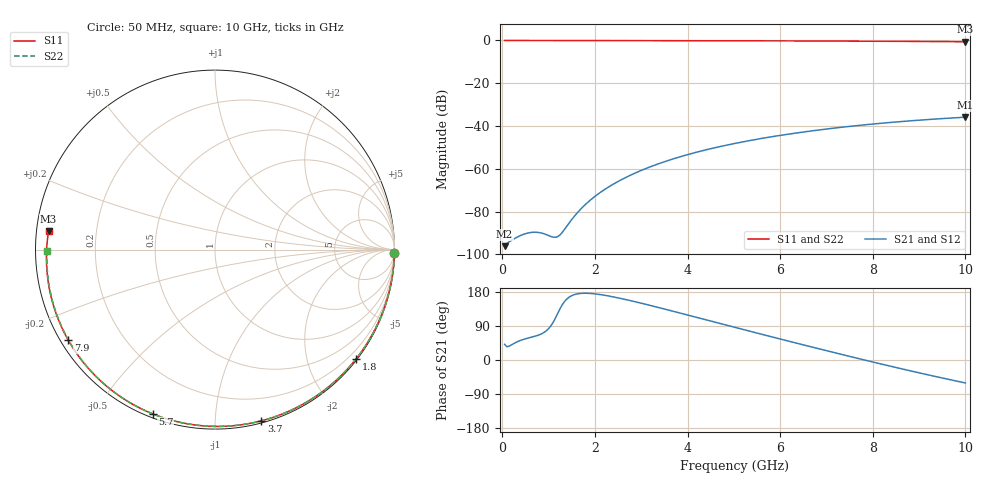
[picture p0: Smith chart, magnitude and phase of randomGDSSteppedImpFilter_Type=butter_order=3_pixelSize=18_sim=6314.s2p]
! freq	dB(S11)	phase(S11)	dB(S12)	phase(S12)
!  dB(S21)	phase(S21)	dB(S22)	phase(S22)
!S-par simulation data
#  GHz  S  DB  R 50
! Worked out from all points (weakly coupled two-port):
!   200 points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, 50 MHz to 10 GHz, reference 50 ohm
!   highest |S21| = -35.87 dB at 10 GHz (marker M1); lowest = -96.2 dB at 50 MHz (marker M2)
!   lowest |S11| = -0.6 dB at 10 GHz (marker M3), VSWR 28.77, Z = 1.74 + j2.72 ohm
!   |S11| at or under -10 dB: nowhere
!   |S22| runs from -0.6 to 0.0 dB; largest |S21 - S12| = 0
!   S11 on the Smith chart (normalised r, x): 50 MHz: open; 1.8 GHz: 0.03, -2.93; 3.7 GHz: 0.02, -1.31; 5.7 GHz: 0.02, -0.69; 7.9 GHz: 0.02, -0.28; 10 GHz: 0.03, +0.05
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0.05  -0.00 -1.1  -96.20 41.3  -96.20 41.3  -0.00 -1.1
0.4  -0.01 -8.5  -91.15 52.0  -91.15 52.0  -0.01 -8.4
0.8  -0.02 -17.0  -89.85 66.5  -89.85 66.5  -0.02 -16.8
1.6  -0.04 -33.5  -81.07 174.0  -81.07 174.0  -0.04 -33.2
1.65  -0.04 -34.6  -79.85 175.1  -79.85 175.1  -0.04 -34.3
1.75  -0.05 -36.6  -77.62 176.2  -77.62 176.2  -0.05 -36.3
1.8  -0.05 -37.6  -76.58 176.2  -76.58 176.2  -0.05 -37.3
2.1  -0.06 -43.7  -71.32 172.9  -71.32 172.9  -0.05 -43.3
2.5  -0.07 -51.7  -65.94 164.0  -65.94 164.0  -0.07 -51.2
2.9  -0.08 -59.5  -61.71 152.9  -61.71 152.9  -0.08 -58.9
3.4  -0.09 -69.2  -57.46 137.7  -57.46 137.7  -0.09 -68.4
3.7  -0.10 -74.8  -55.31 128.3  -55.31 128.3  -0.10 -74.0
4.35  -0.12 -86.9  -51.40 107.6  -51.40 107.6  -0.12 -85.8
5.05  -0.15 -99.4  -48.03 85.3  -48.03 85.3  -0.15 -98.0
5.7  -0.18 -110.8  -45.45 64.8  -45.45 64.8  -0.18 -109.1
6.2  -0.21 -119.4  -43.74 49.2  -43.74 49.2  -0.21 -117.4
6.7  -0.25 -127.9  -42.24 33.8  -42.24 33.8  -0.24 -125.6
7.3  -0.29 -138.1  -40.65 15.5  -40.65 15.5  -0.29 -135.3
7.9  -0.35 -148.4  -39.29 -2.4  -39.29 -2.4  -0.34 -145.0
8.35  -0.39 -156.1  -38.40 -15.5  -38.40 -15.5  -0.38 -152.3
9.2  -0.49 -171.2  -36.97 -39.4  -36.97 -39.4  -0.47 -166.2
10  -0.60 173.8  -35.87 -60.6  -35.87 -60.6  -0.58 -179.6
